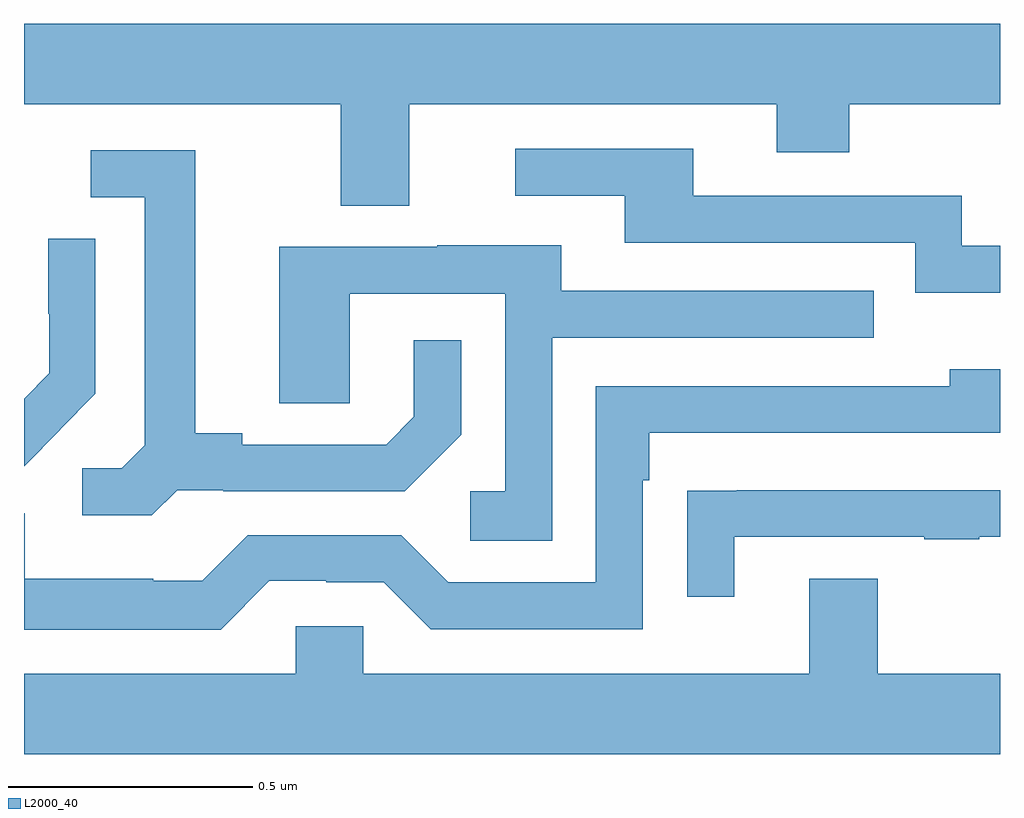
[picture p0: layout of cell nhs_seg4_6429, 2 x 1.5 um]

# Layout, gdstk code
import gdstk
lib = gdstk.Library(unit=1e-6, precision=1e-09)
def P(c, l, *ps):  # polygons
    for p in ps: c.add(gdstk.Polygon(p, *l))
L2000_40 = (2000, 40)

nhs_seg4_6429 = lib.new_cell('nhs_seg4_6429')
P(nhs_seg4_6429, L2000_40, [(190.789,787.496),(191.543,787.496),(191.543,787.397),(191.691,787.397),(191.691,787.496),(192,787.496),(192,787.66),(190,787.66),(190,787.496),(190.649,787.496),(190.649,787.288),(190.789,787.288)],
  [(192,787.206),(191.922,787.206),(191.922,787.308),(191.371,787.308),(191.371,787.404),(191.007,787.404),(191.007,787.308),(191.231,787.308),(191.231,787.212),(191.826,787.212),(191.826,787.109),(192,787.109)],
  [(190.314,786.705),(190.408,786.705),(190.408,786.702),(190.78,786.702),(190.896,786.818),(190.896,787.012),(190.799,787.012),(190.799,786.855),(190.742,786.798),(190.447,786.798),(190.447,786.821),(190.351,786.821),(190.351,787.401),(190.137,787.401),(190.137,787.305),(190.247,787.305),(190.247,786.797),(190.2,786.75),(190.119,786.75),(190.119,786.653),(190.262,786.653)],
  [(190.074,786.828),(190.073,786.829),(190.146,786.902),(190.146,787.22),(190.05,787.22),(190.05,787.066),(190.052,787.066),(190.052,786.944),(190,786.892),(190,786.754)],
  [(191.082,787.017),(191.741,787.017),(191.741,787.113),(191.101,787.113),(191.101,787.207),(190.847,787.207),(190.847,787.203),(190.523,787.203),(190.523,786.883),(190.668,786.883),(190.668,787.107),(190.986,787.107),(190.986,786.702),(190.914,786.702),(190.914,786.601),(191.082,786.601)],
  [(190.503,786.519),(190.619,786.519),(190.619,786.516),(190.737,786.516),(190.833,786.42),(191.268,786.42),(191.268,786.725),(191.281,786.725),(191.281,786.822),(192,786.822),(192,786.952),(191.897,786.952),(191.897,786.918),(191.172,786.918),(191.172,786.516),(190.869,786.516),(190.773,786.612),(190.458,786.612),(190.365,786.519),(190.265,786.519),(190.265,786.523),(190.002,786.523),(190.002,786.657),(190,786.657),(190,786.419),(190.403,786.419)],
  [(191.455,786.609),(191.845,786.609),(191.845,786.604),(191.957,786.604),(191.957,786.609),(192,786.609),(192,786.705),(191.461,786.705),(191.461,786.704),(191.359,786.704),(191.359,786.486),(191.455,786.486)],
  [(192,786.328),(191.749,786.328),(191.749,786.523),(191.609,786.523),(191.609,786.328),(190.695,786.328),(190.695,786.426),(190.557,786.426),(190.557,786.328),(190,786.328),(190,786.164),(192,786.164)])

lib.write_gds('nhs_seg4_6429.gds')
